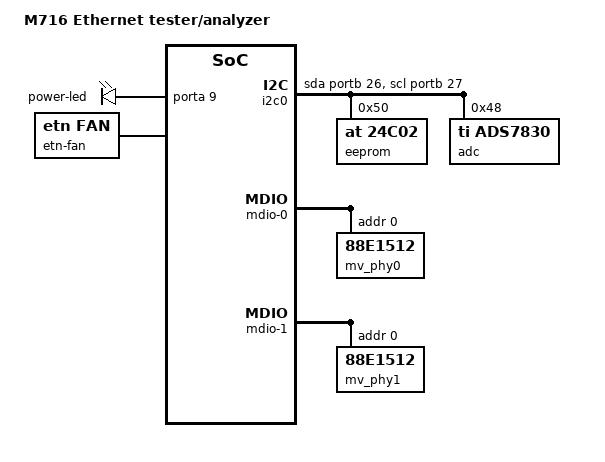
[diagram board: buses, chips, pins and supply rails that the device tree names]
/*
 * Copyright Altera Corporation (C) 2012,2014. All rights reserved.
 *
 * This program is free software; you can redistribute it and/or modify
 * it under the terms and conditions of the GNU General Public License,
 * version 2, as published by the Free Software Foundation.
 *
 * This program is distributed in the hope it will be useful, but WITHOUT
 * ANY WARRANTY; without even the implied warranty of MERCHANTABILITY or
 * FITNESS FOR A PARTICULAR PURPOSE.  See the GNU General Public License for
 * more details.
 *
 * You should have received a copy of the GNU General Public License along with
 * this program.  If not, see <http://www.gnu.org/licenses/>.
 */

#include "socfpga_cyclone5_stcmtk.dtsi"

/ {
	model = "M716 Ethernet tester/analyzer";

	cpu-gpio {
		compatible = "linux,gpio-exporter";
		status = "okay";
		exported-gpios = <&portb 15 GPIO_ACTIVE_HIGH>,
			<&portb 8 GPIO_ACTIVE_HIGH>,
			<&portb 23 GPIO_ACTIVE_HIGH>,
			<&portb 19 GPIO_ACTIVE_HIGH>,
			<&portc 7 GPIO_ACTIVE_HIGH>;
		exported-gpio-names = "bypass",
			"button",
			"power-fault",
			"poe-present",
			"devinfo-eeprom-write-protect";
		exported-gpio-directions = "out",
			"in",
			"in",
			"in",
			"high";
	};

	leds {
		compatible = "gpio-leds";

		power_led {
			label = "power-led";
			linux,default-trigger = "heartbeat";
			gpios = <&porta 9 GPIO_ACTIVE_HIGH>;
			default-state = "off";
		};
	};

	soc {
		ethernet@ff702000 {
			phy-mode = "rgmii-id";
		};

		i2c0: i2c@ffc04000 {
			scl-gpios = <&portb 27 GPIO_ACTIVE_HIGH>;
			sda-gpios = <&portb 26 GPIO_ACTIVE_HIGH>;

			eeprom@50 {
				compatible = "at,24c02";
				reg = <0x50>;
				status = "okay";
			};

			adc@48 {
				compatible = "ti,ads7830";
				reg = <0x48>;
				status = "okay";
			};
		};

		i2c1: i2c@ffc05000 {
			status = "disabled";
		};

		etn-port0 {
			compatible = "stcmtk,etln-1g";
			target-fpga = <&fpga>;
			port-num = <0>;
			phy-handle = <&mv_phy0>;
			phy-mode = "rgmii-id";
			mac-address = [ 00 21 CE 01 00 01];
		};

		etn-port1 {
			compatible = "stcmtk,etln-1g";
			target-fpga = <&fpga>;
			port-num = <1>;
			phy-handle = <&mv_phy1>;
			phy-mode = "rgmii-id";
			mac-address = [ 00 21 CE 01 00 02];
		};

		etn-fan {
			compatible = "etn,fan";
			target-fpga = <&fpga>;
		};

		etn-rate-limiter0 {
			compatible = "etn,rate-limiter";
			target-fpga = <&fpga>;
			port-num = <0>;
		};
		etn-rate-limiter1 {
			compatible = "etn,rate-limiter";
			target-fpga = <&fpga>;
			port-num = <1>;
		};

};


	mdio-0 {
		compatible = "stcmtk,et-1g-mdio";
		target-fpga = <&fpga>;
		#address-cells = <1>;
		#size-cells = <0>;
		mdio-num = <0>;
		status = "okay";

		mv_phy0: 88E1512@0 {
			reg = <0x0>;
		};
	};

	mdio-1 {
		compatible = "stcmtk,et-1g-mdio";
		target-fpga = <&fpga>;
		#address-cells = <1>;
		#size-cells = <0>;
		mdio-num = <1>;
		status = "okay";

		mv_phy1: 88E1512@0 {
			reg = <0x0>;
		};
	};
};
